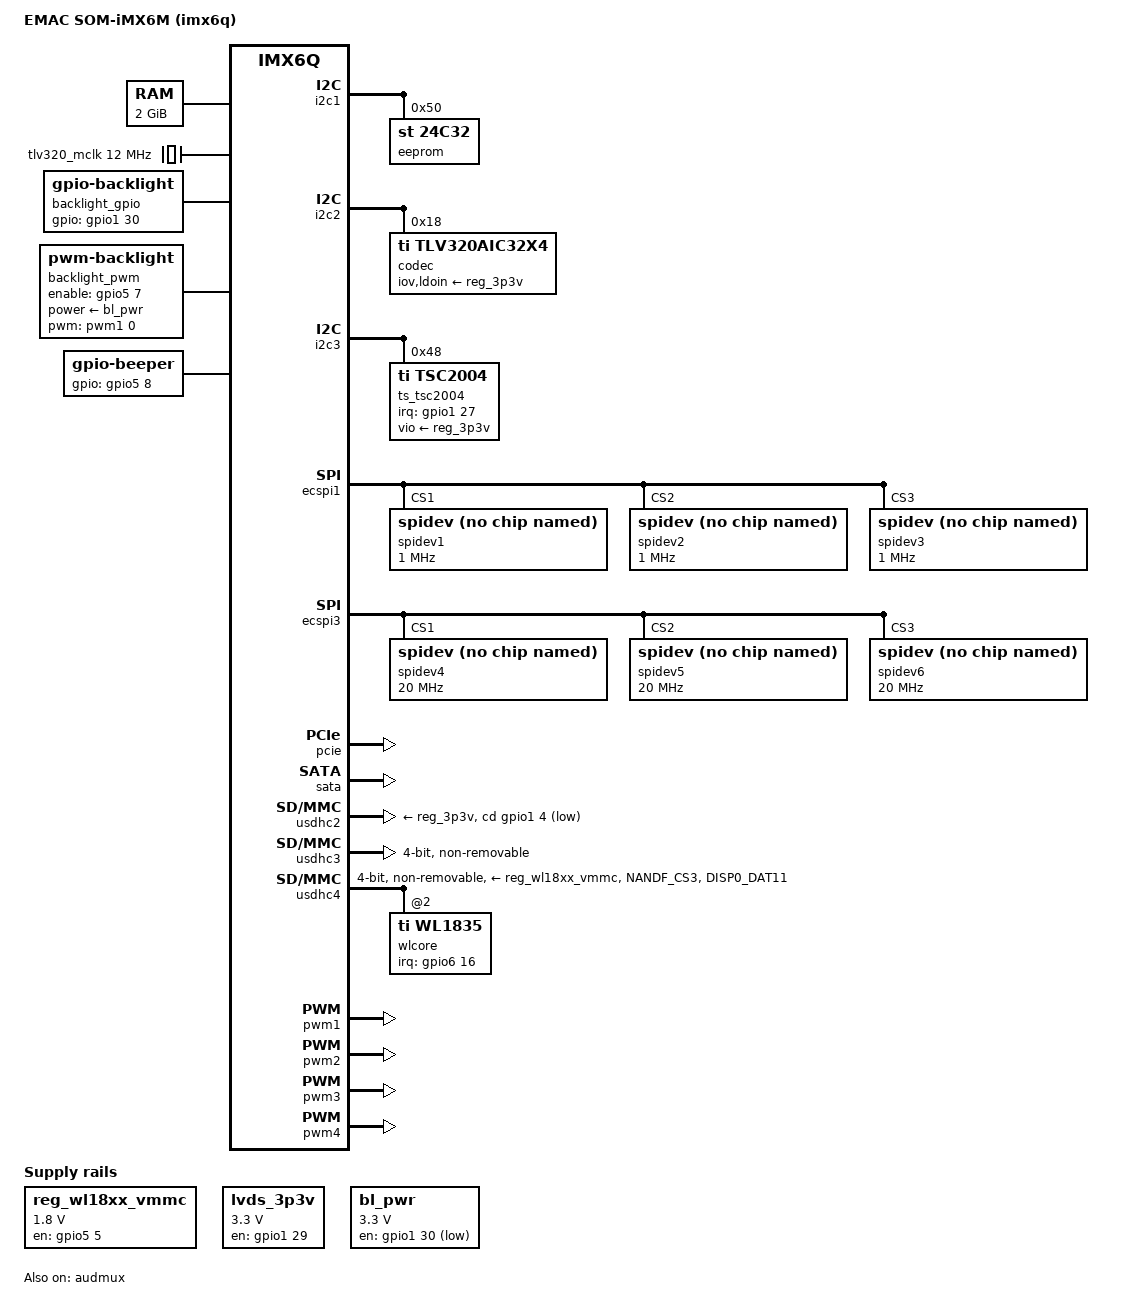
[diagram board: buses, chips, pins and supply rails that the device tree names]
/*
 * Copyright 2022 EMAC Inc.
 * Copyright 2016 EMAC Inc.
 * Copyright 2016 QWERTY Embedded Design
 *
 * Author: Joseph Mills <jmills@emacinc.com>
 * Author: Michael Welling <mwelling@ieee.org>
 *
 * This program is free software; you can redistribute it and/or modify
 * it under the terms of the GNU General Public License version 2 as
 * published by the Free Software Foundation.
 *
 */



#include "imx6q.dtsi"
#include "som-imx6dq.dtsi"
#include <dt-bindings/interrupt-controller/irq.h>
#include <dt-bindings/sound/fsl-imx-audmux.h>

&iomuxc {
    imx6qdl-350es {
        pinctrl_wifi: wifigrp {
            fsl,pins = <
                MX6QDL_PAD_NANDF_CS3__GPIO6_IO16   	0x13059		/* WL_IRQ */
                MX6QDL_PAD_DISP0_DAT11__GPIO5_IO05 	0x13059		/* WL_EN */
            >;
        };
        pinctrl_bt: btgrp {
            fsl,pins = <
                MX6QDL_PAD_DISP0_DAT12__GPIO5_IO06	0x13059		/* BT_EN */
            >;
        };
        pinctrl_tsc: tscgrp {
            fsl,pins = <
                MX6QDL_PAD_ENET_RXD0__GPIO1_IO27	0x1b0b0
            >;
        };
    };
};


/ {
    model = "EMAC SOM-iMX6M (imx6q)";
    compatible = "emac,som-imx6q-350es", "fsl,imx6q";
    chosen {
        stdout-path = &uart2;
    };
    memory {
        device_type = "memory";
        reg = <0x10000000 0x80000000>;
    };
    
    aliases {
        ts_tsc2004 = &ts_tsc2004;
        backlight_gpio = &backlight_gpio;
        lvds_3p3v = &lvds_3p3v;
        backlight_pwm = &backlight_pwm;
        bl_pwr = &bl_pwr;
    };
    
    clocks{
        tlv320_mclk: tlv320_mclk {
            #clock-cells = <0>;
            compatible = "fixed-clock";
            clock-frequency = <12000000>;
            clock-output-names = "mclk";
        };
    };
    
    regulators {
        reg_wl18xx_vmmc: regulator-wl18xx {
            compatible = "regulator-fixed";
            regulator-name = "wlan-en-regulator";
            regulator-min-microvolt = <1800000>;
            regulator-max-microvolt = <1800000>;
            gpio = <&gpio5 5 GPIO_ACTIVE_HIGH>;
            enable-active-high;
            startup-delay-us = <70000>;
        };
        
        lvds_3p3v: lvds_3p3v_reg {
            compatible = "regulator-fixed";
            regulator-name = "LVDS 3P3V";
            regulator-min-microvolt = <3300000>;
            regulator-max-microvolt = <3300000>;
            regulator-always-on;
            enable-active-high;
            gpio = <&gpio1 29 GPIO_ACTIVE_HIGH>;
        };

        bl_pwr: bl_pwr_reg {
            compatible = "regulator-fixed";
            reg = <5>;
            regulator-name = "LVDS ABL";
            regulator-min-microvolt = <3300000>;
            regulator-max-microvolt = <3300000>;
            regulator-always-on;
            gpio = <&gpio1 30 GPIO_ACTIVE_LOW>;
        };
    };
    //reg
    
    backlight_gpio: backlight_gpio {
        compatible = "gpio-backlight";
        gpios = <&gpio1 30 GPIO_ACTIVE_HIGH>;
        default-on;
        display = <&mxcfb1>;
    };
    
    backlight_pwm: backlight_pwm {
        compatible = "pwm-backlight";
        pwms = <&pwm1 0 50000 0>;
        enable-gpios = <&gpio5 7 GPIO_ACTIVE_HIGH>;
        power-supply = <&bl_pwr>;
        brightness-levels = <0 10 20 30 40 50 60 70 80 90 100>;
        default-brightness-level = <9>;
        display = <&mxcfb1>; 
    };
    
    beeper: beeper {
        compatible = "gpio-beeper";
        gpios = <&gpio5 8 GPIO_ACTIVE_HIGH>;
    };
    
    #if 0 
  FIXME make this as fsl audio. 
  	sound {
		compatible = "fsl,imx-audio-aic32x4";
		model = "tlv320aic32x4";
		ssi-controller = <&ssi1>;
		audio-codec = <&codec>;
		audio-routing =
            "Line Out Jack", "LOL" 
            "Line Out Jack", "LOR" 
            "Headphone Jack", "HPL",
			"Headphone Jack", "HPR";
		mux-int-port = <1>;
		mux-ext-port = <4>;
	};
#endif
    sound {
		compatible = "simple-audio-card";
		simple-audio-card,format = "i2s";
		simple-audio-card,name = "tlv320aic32x4";
		simple-audio-card,bitclock-master = <&codec_master>;
		simple-audio-card,frame-master = <&codec_master>;
		simple-audio-card,widgets =
			"Microphone", "Microphone Jack",
			"Headphone", "Headphone Jack";
		simple-audio-card,routing =
			"Headphone Jack", "HPL",
			"Headphone Jack", "HPR",
			"IN1_L", "Microphone Jack",
			"IN1_R", "Microphone Jack",
			"Microphone Jack", "Mic Bias";

		cpu_master: simple-audio-card,cpu {
			sound-dai = <&ssi1>;
		};

		codec_master: simple-audio-card,codec {
			sound-dai = <&codec>;
			clocks = <&tlv320_mclk>;
		};
	};
};

&i2c1 {  
    eeprom@50 {
        compatible = "st,24c32";
        reg = <0x50>;
        pagesize = <32>;
    };
};
&i2c2 {
    codec: tlv320aic32x4@18{
        #sound-dai-cells = <0>;
        compatible = "ti,tlv320aic32x4";
        reg = <0x18>;
        clocks = <&tlv320_mclk>;
        clock-names = "mclk";
        iov-supply = <&reg_3p3v>;
        ldoin-supply = <&reg_3p3v>;
        input-use = <1 1 0 0 0 0>;
        cmode = <0x11 0>;
        status = "okay";
    };
};
&i2c3 {
    ts_tsc2004: touchscreen@48 {
        compatible = "ti,tsc2004";
        interrupts-extended = <&gpio1 27 IRQ_TYPE_EDGE_RISING>;
        pinctrl-names = "default";
        pinctrl-0 = <&pinctrl_tsc>;
        reg = <0x48>;
        status = "okay";
        vio-supply = <&reg_3p3v>;
        touchscreen-size-x = <4096>;
        touchscreen-size-y = <4096>;
        touchscreen-max-pressure = <2048>;
        touchscreen-fuzz-x = <4>;
        touchscreen-fuzz-y = <7>;
        touchscreen-fuzz-pressure = <2>;
        ti,x-plate-ohms = <850>;
        ti,esd-recovery-timeout-ms = <800>;
    };
};

&ecspi1 {
    spidev1: spi@1 {
        compatible = "emac,spidev";
        reg = <1>;
        spi-max-frequency = <1000000>;
    };

    spidev2: spi@2 {
        compatible = "emac,spidev";
        reg = <2>;
        spi-max-frequency = <1000000>;
    };

    spidev3: spi@3 {
        compatible = "emac,spidev";
        reg = <3>;
        spi-max-frequency = <1000000>;
    };
};
&ecspi3 {
    spidev4: spi@1 {
        compatible = "emac,spidev";
        reg = <1>;
        spi-max-frequency = <20000000>;
    };

    spidev5: spi@2 {
        compatible = "emac,spidev";
        reg = <2>;
        spi-max-frequency = <20000000>;
    };

    spidev6: spi@3 {
        compatible = "emac,spidev";
        reg = <3>;
        spi-max-frequency = <20000000>;
    };
};

&pcie{
    status = "okay";
};

&sata{
    status = "okay";
};

&usdhc2 {
    pinctrl-names = "default";
    pinctrl-0 = <&pinctrl_usdhc2>;
    vmmc-supply = <&reg_3p3v>;
    cd-gpios = <&gpio1 4 GPIO_ACTIVE_LOW>;
    disable-wp;
    status = "okay";
};


&usdhc3 {
    pinctrl-names = "default";
    pinctrl-0 = <&pinctrl_usdhc3>;
    non-removable;
    no-1-8-v;
    sd-uhs-sdr50;
    bus-width = <4>;
    status = "okay";
};


&usdhc4 {
    pinctrl-names = "default";
    pinctrl-0 = <&pinctrl_usdhc4 &pinctrl_wifi>;
    bus-width = <4>;
    vmmc-supply = <&reg_wl18xx_vmmc>;
    non-removable;
    wakeup-source;
    keep-power-in-suspend;
    cap-power-off-card;
#if 0
    TODO add the pin group for both 200mhz and 400mhz 
    pinctrl-names = "default", "state_100mhz", "state_200mhz";
	pinctrl-1 = <&pinctrl_usdhc4_100mhz>;
    pinctrl-2 = <&pinctrl_usdhc4_200mhz>;
    enable-sdio-wakeup;
#endif

    #address-cells = <1>;
    #size-cells = <0>;

    status = "okay";
    wlcore: wlcore@0 {
            compatible = "ti,wl1835";
            reg = <2>;
            interrupt-parent = <&gpio6>;
            interrupts = <16 IRQ_TYPE_LEVEL_HIGH>;
            ref-clock-frequency = <38400000>;
    };
};

&pwm1 {
    pinctrl-names = "default";
    pinctrl-0 = <&pinctrl_pwm1>;
    #pwm-cells = <3>;
    status = "okay";
};

&pwm2 {
    pinctrl-names = "default";
    pinctrl-0 = <&pinctrl_pwm2>;
    #pwm-cells = <3>;
    status = "okay";
};

&pwm3 {
    pinctrl-names = "default";
    pinctrl-0 = <&pinctrl_pwm3>;
    #pwm-cells = <3>;
    status = "okay";
};

&pwm4 {
    pinctrl-names = "default";
    pinctrl-0 = <&pinctrl_pwm4>;
    #pwm-cells = <3>;
    status = "okay";
};

&audmux {
    pinctrl-names = "default";
    pinctrl-0 = <&pinctrl_audmux>;
    status = "okay";

    ssi1 {
        fsl,audmux-port = <0>;
        fsl,port-config = <
            (IMX_AUDMUX_V2_PTCR_SYN |
            IMX_AUDMUX_V2_PTCR_TFSEL(3) |
            IMX_AUDMUX_V2_PTCR_TCSEL(3) |
            IMX_AUDMUX_V2_PTCR_TFSDIR |
            IMX_AUDMUX_V2_PTCR_TCLKDIR)
            IMX_AUDMUX_V2_PDCR_RXDSEL(3)
        >;
    };

    pins5 {
        fsl,audmux-port = <3>;
        fsl,port-config = <
            IMX_AUDMUX_V2_PTCR_SYN
            IMX_AUDMUX_V2_PDCR_RXDSEL(0)
        >;
    };
};
